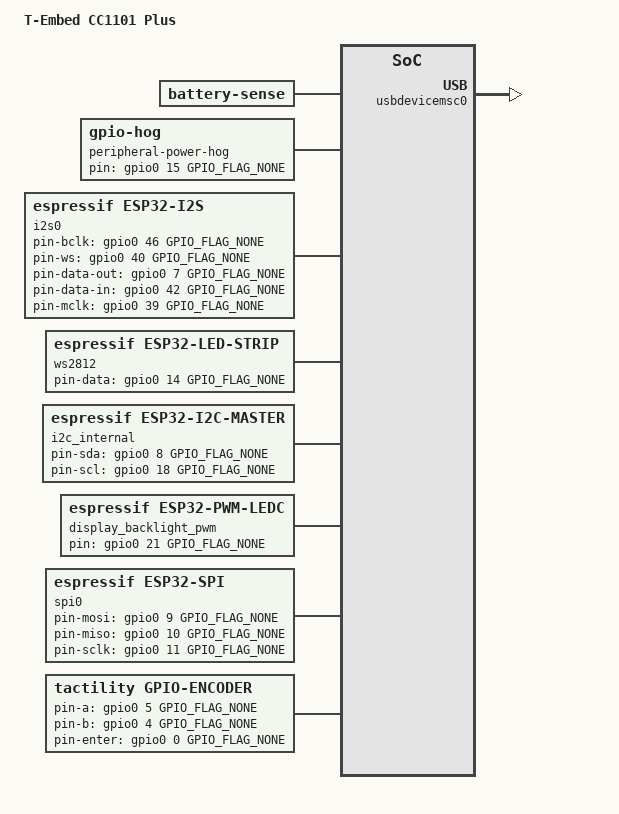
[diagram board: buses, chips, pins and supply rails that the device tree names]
/dts-v1/;

#include <tactility/bindings/battery_sense.h>
#include <tactility/bindings/root.h>
#include <tactility/bindings/esp32_adc_oneshot.h>
#include <tactility/bindings/esp32_ble.h>
#include <tactility/bindings/esp32_gpio.h>
#include <tactility/bindings/esp32_i2c_master.h>
#include <tactility/bindings/esp32_i2s.h>
#include <tactility/bindings/esp32_pwm_ledc.h>
#include <tactility/bindings/esp32_sdspi.h>
#include <tactility/bindings/esp32_spi.h>
#include <tactility/bindings/esp32_wifi_pinned.h>
#include <tactility/bindings/esp32_usbdevice.h>
#include <tactility/bindings/gpio_hog.h>
#include <tactility/bindings/pwm_backlight.h>

#include <bindings/st7789.h>
#include <bindings/dummy_i2s_amp.h>
#include <bindings/pdm_mic.h>
#include <bindings/bq25896.h>
#include <bindings/bq27220.h>
#include <bindings/gpio_encoder.h>
#include <bindings/esp32_led_strip.h>

// Reference:
// https://wiki.lilygo.cc/products/t-embed-series/t-embed-cc1101/
// https://github.com/Xinyuan-LilyGO/T-Embed-CC1101
// https://lilygo.cc/products/t-embed-cc1101-plus
/ {
	compatible = "root";
	model = "T-Embed CC1101 Plus";

	adc0 {
		compatible = "espressif,esp32-adc-oneshot";
		unit-id = <ADC_UNIT_1>;
		clk-src = <ADC_RTC_CLK_SRC_DEFAULT>;
		channels = <ADC_CHANNEL_3 ADC_ATTEN_DB_12 ADC_BITWIDTH_DEFAULT>;
	};

	battery-sense {
		compatible = "battery-sense";
		io-channel = <&adc0 0>;
		reference-voltage-mv = <3300>;
		multiplier = <2110>;
	};

	wifi0 {
		compatible = "espressif,esp32-wifi-pinned";
	};

	ble0 {
		compatible = "espressif,esp32-ble";
	};

	gpio0 {
		compatible = "espressif,esp32-gpio";
		gpio-count = <49>;
	};

	// Required to enable peripherals like BQ25896
	peripheral-power-hog {
		compatible = "gpio-hog";
		pin = <&gpio0 15 GPIO_FLAG_NONE>;
		mode = <GPIO_HOG_MODE_OUTPUT_HIGH>;
	};

	// Speaker I2S (MAX98357A amplifier)
	i2s0 {
		compatible = "espressif,esp32-i2s";
		port = <I2S_NUM_0>;
		pin-bclk = <&gpio0 46 GPIO_FLAG_NONE>;
		pin-ws = <&gpio0 40 GPIO_FLAG_NONE>;
		pin-data-out = <&gpio0 7 GPIO_FLAG_NONE>;
		pin-data-in = <&gpio0 42 GPIO_FLAG_NONE>;
		pin-mclk = <&gpio0 39 GPIO_FLAG_NONE>;
	};

	// MAX98357A class-D speaker amplifier. No I2C.
	speaker0 {
		compatible = "maxim,max98357a";
		i2s = <&i2s0>;
	};

	mic0 {
		compatible = "generic,spm1423";
		i2s = <&i2s0>;
		channels = <1>;
	};

	// WS2812 RGB LED Ring
	// TODO - Sync on/off with DisplayIdle?
	ws2812 {
		compatible = "espressif,esp32-led-strip";
		pin-data = <&gpio0 14 GPIO_FLAG_NONE>;
		led-count = <8>;
	};

	i2c_internal: i2c0 {
		compatible = "espressif,esp32-i2c-master";
		port = <I2C_NUM_0>;
		clock-frequency = <100000>;
		pin-sda = <&gpio0 8 GPIO_FLAG_NONE>;
		pin-scl = <&gpio0 18 GPIO_FLAG_NONE>;

		bq27220 {
			compatible = "ti,bq27220";
			reg = <0x55>;
		};

		bq25896 {
			compatible = "ti,bq25896";
			reg = <0x6B>;
		};

		// TODO - Add PN532 NFC - IRQ GPIO 17, RES GPIO 45, address 0x24 - driver needed
	};

	display_backlight_pwm {
		compatible = "espressif,esp32-pwm-ledc";
		pin = <&gpio0 21 GPIO_FLAG_NONE>;
		period-ns = <33333>;
		ledc-timer = <0>;
		ledc-channel = <0>;
	};

	display_backlight {
		compatible = "pwm-backlight";
		// Off by default so dispaly power-on won't show the screen from before the last power loss.
		// The display backlight is turned on during the boot process.
		status = "disabled";
		pwm = <&display_backlight_pwm>;
	};

	spi0 {
		compatible = "espressif,esp32-spi";
		host = <SPI2_HOST>;
		cs-gpios = <&gpio0 41 GPIO_FLAG_NONE>,  // Display
		            <&gpio0 13 GPIO_FLAG_NONE>, // SD card
					<&gpio0 12 GPIO_FLAG_NONE>, // Radio - CC1101
					<&gpio0 44 GPIO_FLAG_NONE>; // Radio - nRF24L01
		pin-mosi = <&gpio0 9 GPIO_FLAG_NONE>;
		pin-miso = <&gpio0 10 GPIO_FLAG_NONE>;
		pin-sclk = <&gpio0 11 GPIO_FLAG_NONE>;

		display@0 {
			compatible = "sitronix,st7789";
			horizontal-resolution = <320>;
			vertical-resolution = <170>;
			gap-x = <35>;
			swap-xy;
			mirror-y;
			invert-color;
			pixel-clock-hz = <80000000>;
			pin-dc = <&gpio0 16 GPIO_FLAG_NONE>;
			pin-reset = <&gpio0 40 GPIO_FLAG_NONE>;
			backlight = <&display_backlight>;
		};

		sdcard@1 {
			compatible = "espressif,esp32-sdspi";
			status = "disabled";
			frequency-khz = <20000>;
		};

		// TODO - Add CC1101 Radio - CS GPIO 12, SCK GPIO 11, MOSI GPIO 9, MISO GPIO 10, IO2 GPIO 38, IO0 GPIO 3, SW1 GPIO 47, SW0 GPIO 48 - driver needed
		// TODO - Add nRF24L01 Radio - CS GPIO 44, CE GPIO 43, IQR -1/NC, SCK GPIO 11, MOSI GPIO 9, MISO GPIO 10 - driver needed
	};

	encoder {
		compatible = "tactility,gpio-encoder";
		pin-a = <&gpio0 5 GPIO_FLAG_NONE>;
		pin-b = <&gpio0 4 GPIO_FLAG_NONE>;
		pin-enter = <&gpio0 0 GPIO_FLAG_NONE>;
		pulses-per-detent = <2>;
		pending-capacity = <8>;
	};

	usbdevice0 {
		compatible = "espressif,esp32-usbdevice";

		usbdevicemsc0 {
			compatible = "espressif,esp32-usbdevice-msc";
		};
	};
};
